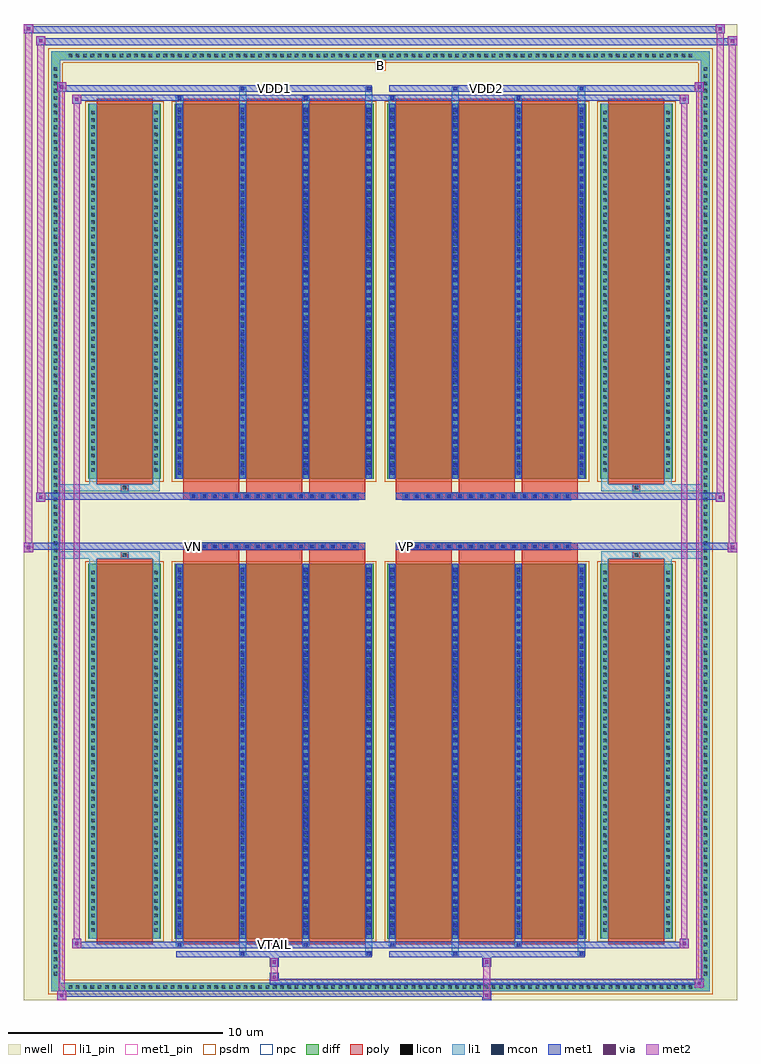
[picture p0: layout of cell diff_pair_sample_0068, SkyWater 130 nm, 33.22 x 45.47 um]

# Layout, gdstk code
import gdstk
lib = gdstk.Library(unit=1e-6, precision=5e-09)
def R(c, l, rs):  # rectangles x0, y0, x1, y1
    for r in rs: c.add(gdstk.rectangle(r[:2], r[2:], *l))
def A(c, l, x, y, w, h, nx, ny, dx, dy):  # array of equal rectangles
    R(c, l, [(x+i*dx, y+j*dy, x+i*dx+w, y+j*dy+h) for i in range(nx) for j in range(ny)])
def P(c, l, *ps):  # polygons
    for p in ps: c.add(gdstk.Polygon(p, *l))
nwell = (64, 20)
diff = (65, 20)
poly = (66, 20)
licon = (66, 44)
li1_pin = (67, 16)
li1 = (67, 20)
mcon = (67, 44)
met1_pin = (68, 16)
met1 = (68, 20)
via = (68, 44)
met2 = (69, 20)
psdm = (94, 20)
npc = (95, 20)

diff_pair_sample_0068 = lib.new_cell('diff_pair_sample_0068')
R(diff_pair_sample_0068, nwell, [(-16.61,-22.3,16.61,23.17), (-13.93,-20.49,-0.01,-0.805), (0.01,-20.49,13.93,-0.805), (-13.93,0.805,-0.01,20.49), (0.01,0.805,13.93,20.49)])
A(diff_pair_sample_0068, diff, -14.655, -21.9, 0.41, 0.41, 86, 2, 0.34, 43.39)
A(diff_pair_sample_0068, diff, -15.34, -21.285, 0.41, 0.41, 1, 125, 0, 0.34)
A(diff_pair_sample_0068, diff, 14.93, -21.285, 0.41, 0.41, 1, 125, 0, 0.34)
R(diff_pair_sample_0068, diff, [(-14.655,-21.9,14.655,-21.49), (-15.34,-21.285,-14.93,21.285), (14.93,-21.285,15.34,21.285), (-13.62,-19.445,-10.23,-1.985), (-9.59,-19.445,-0.32,-1.985), (0.32,-19.445,9.59,-1.985), (10.23,-19.445,13.62,-1.985), (-13.62,1.985,-10.23,19.445), (-9.59,1.985,-0.32,19.445), (0.32,1.985,9.59,19.445), (10.23,1.985,13.62,19.445), (-14.655,21.49,14.655,21.9)])
P(diff_pair_sample_0068, diff, [(15.34,21.9),(-15.34,21.9),(-15.34,-21.49),(-14.93,-21.49),(-14.93,21.49),(14.93,21.49),(14.93,-21.49),(-14.93,-21.49),(-15.34,-21.49),(-15.34,-21.9),(15.34,-21.9)])
A(diff_pair_sample_0068, poly, -9.2, -19.695, 2.61, 17.96, 3, 2, 2.94, 21.43)
A(diff_pair_sample_0068, poly, 0.71, -19.695, 2.61, 17.96, 3, 2, 2.94, 21.43)
A(diff_pair_sample_0068, poly, -9.2, -1.735, 2.61, 0.4, 3, 2, 2.94, 3.07)
A(diff_pair_sample_0068, poly, 0.71, -1.735, 2.61, 0.4, 3, 2, 2.94, 3.07)
A(diff_pair_sample_0068, poly, -8.87, -1.335, 0.33, 0.33, 16, 2, 0.5, 2.34)
A(diff_pair_sample_0068, poly, 1.04, -1.335, 0.33, 0.33, 16, 2, 0.5, 2.34)
R(diff_pair_sample_0068, poly, [(-13.23,-19.695,-10.62,-1.735), (10.62,-19.695,13.23,-1.735), (-12.09,-1.735,-11.76,-1.405), (-12.09,-1.735,-11.76,-1.405), (11.76,-1.735,12.09,-1.405), (11.76,-1.735,12.09,-1.405), (-9.2,-1.335,-0.71,-1.005), (0.71,-1.335,9.2,-1.005), (-9.2,1.005,-0.71,1.335), (0.71,1.005,9.2,1.335), (-12.09,1.405,-11.76,1.735), (-12.09,1.405,-11.76,1.735), (11.76,1.405,12.09,1.735), (11.76,1.405,12.09,1.735), (-13.23,1.735,-10.62,19.695), (10.62,1.735,13.23,19.695)])
A(diff_pair_sample_0068, licon, -14.535, -21.78, 0.17, 0.17, 86, 2, 0.34, 43.39)
A(diff_pair_sample_0068, licon, -15.22, -21.165, 0.17, 0.17, 1, 125, 0, 0.34)
A(diff_pair_sample_0068, licon, 15.05, -21.165, 0.17, 0.17, 1, 125, 0, 0.34)
A(diff_pair_sample_0068, licon, -13.48, -19.13, 0.17, 0.17, 1, 50, 0, 0.34)
A(diff_pair_sample_0068, licon, -10.54, -19.13, 0.17, 0.17, 1, 50, 0, 0.34)
A(diff_pair_sample_0068, licon, -9.45, -19.13, 0.17, 0.17, 4, 50, 2.94, 0.34)
A(diff_pair_sample_0068, licon, 0.46, -19.13, 0.17, 0.17, 4, 50, 2.94, 0.34)
A(diff_pair_sample_0068, licon, 10.37, -19.13, 0.17, 0.17, 1, 50, 0, 0.34)
A(diff_pair_sample_0068, licon, 13.31, -19.13, 0.17, 0.17, 1, 50, 0, 0.34)
A(diff_pair_sample_0068, licon, -8.79, -1.255, 0.17, 0.17, 16, 2, 0.5, 2.34)
A(diff_pair_sample_0068, licon, 1.12, -1.255, 0.17, 0.17, 16, 2, 0.5, 2.34)
A(diff_pair_sample_0068, licon, -13.48, 2.3, 0.17, 0.17, 1, 50, 0, 0.34)
A(diff_pair_sample_0068, licon, -10.54, 2.3, 0.17, 0.17, 1, 50, 0, 0.34)
A(diff_pair_sample_0068, licon, -9.45, 2.3, 0.17, 0.17, 4, 50, 2.94, 0.34)
A(diff_pair_sample_0068, licon, 0.46, 2.3, 0.17, 0.17, 4, 50, 2.94, 0.34)
A(diff_pair_sample_0068, licon, 10.37, 2.3, 0.17, 0.17, 1, 50, 0, 0.34)
A(diff_pair_sample_0068, licon, 13.31, 2.3, 0.17, 0.17, 1, 50, 0, 0.34)
R(diff_pair_sample_0068, licon, [(-12.01,-1.655,-11.84,-1.485), (11.84,-1.655,12.01,-1.485), (-12.01,1.485,-11.84,1.655), (11.84,1.485,12.01,1.655)])
R(diff_pair_sample_0068, li1_pin, [(-0.25,20.99,0.25,21.49)])
A(diff_pair_sample_0068, li1, -14.615, -21.86, 0.33, 0.33, 86, 2, 0.34, 43.39)
A(diff_pair_sample_0068, li1, -15.3, -21.245, 0.33, 0.33, 1, 125, 0, 0.34)
A(diff_pair_sample_0068, li1, 14.97, -21.245, 0.33, 0.33, 1, 125, 0, 0.34)
A(diff_pair_sample_0068, li1, -9.53, -19.445, 0.33, 17.46, 4, 2, 2.94, 21.43)
A(diff_pair_sample_0068, li1, 0.38, -19.445, 0.33, 17.46, 4, 2, 2.94, 21.43)
A(diff_pair_sample_0068, li1, -9.45, -19.26, 0.17, 0.17, 4, 48, 2.94, 0.36)
A(diff_pair_sample_0068, li1, -9.45, -19.26, 0.17, 17.09, 4, 2, 2.94, 21.43)
A(diff_pair_sample_0068, li1, 0.46, -19.26, 0.17, 0.17, 4, 48, 2.94, 0.36)
A(diff_pair_sample_0068, li1, 0.46, -19.26, 0.17, 17.09, 4, 2, 2.94, 21.43)
A(diff_pair_sample_0068, li1, -13.56, -19.21, 0.33, 0.33, 1, 50, 0, 0.34)
A(diff_pair_sample_0068, li1, -10.62, -19.21, 0.33, 0.33, 1, 50, 0, 0.34)
A(diff_pair_sample_0068, li1, -9.53, -19.21, 0.33, 0.33, 4, 50, 2.94, 0.34)
A(diff_pair_sample_0068, li1, 0.38, -19.21, 0.33, 0.33, 4, 50, 2.94, 0.34)
A(diff_pair_sample_0068, li1, 10.29, -19.21, 0.33, 0.33, 1, 50, 0, 0.34)
A(diff_pair_sample_0068, li1, 13.23, -19.21, 0.33, 0.33, 1, 50, 0, 0.34)
A(diff_pair_sample_0068, li1, -8.87, -1.335, 0.33, 0.33, 16, 2, 0.5, 2.34)
A(diff_pair_sample_0068, li1, 1.04, -1.335, 0.33, 0.33, 16, 2, 0.5, 2.34)
A(diff_pair_sample_0068, li1, -9.45, 2.17, 0.17, 0.17, 4, 48, 2.94, 0.36)
A(diff_pair_sample_0068, li1, 0.46, 2.17, 0.17, 0.17, 4, 48, 2.94, 0.36)
A(diff_pair_sample_0068, li1, -13.56, 2.22, 0.33, 0.33, 1, 50, 0, 0.34)
A(diff_pair_sample_0068, li1, -10.62, 2.22, 0.33, 0.33, 1, 50, 0, 0.34)
A(diff_pair_sample_0068, li1, -9.53, 2.22, 0.33, 0.33, 4, 50, 2.94, 0.34)
A(diff_pair_sample_0068, li1, 0.38, 2.22, 0.33, 0.33, 4, 50, 2.94, 0.34)
A(diff_pair_sample_0068, li1, 10.29, 2.22, 0.33, 0.33, 1, 50, 0, 0.34)
A(diff_pair_sample_0068, li1, 13.23, 2.22, 0.33, 0.33, 1, 50, 0, 0.34)
R(diff_pair_sample_0068, li1, [(-15.34,-21.9,-14.93,-21.49), (-15.34,-21.9,-14.93,-21.49), (-14.93,-21.9,14.93,-21.49), (14.93,-21.9,15.34,-21.49), (14.93,-21.9,15.34,-21.49), (-15.34,-21.49,-14.93,21.49), (14.93,-21.49,15.34,21.49), (-6.59,-20.25,-6.26,-19.445), (-6.51,-20.25,-6.34,-20.08), (-0.71,-20.25,-0.38,-19.445), (-0.63,-20.25,-0.46,-20.08), (3.32,-20.25,3.65,-19.445), (3.4,-20.25,3.57,-20.08), (9.2,-20.25,9.53,-19.445), (9.28,-20.25,9.45,-20.08), (-9.53,-19.82,-9.2,-19.445), (-9.45,-19.82,-9.28,-19.65), (-3.65,-19.82,-3.32,-19.445), (-3.57,-19.82,-3.4,-19.65), (0.38,-19.82,0.71,-19.445), (0.46,-19.82,0.63,-19.65), (6.26,-19.82,6.59,-19.445), (6.34,-19.82,6.51,-19.65), (-13.56,-19.445,-13.23,-1.985), (-10.62,-19.445,-10.29,-1.985), (10.29,-19.445,10.62,-1.985), (13.23,-19.445,13.56,-1.985), (-13.56,-1.985,-13.23,-1.405), (-10.62,-1.985,-10.29,-1.405), (10.29,-1.985,10.62,-1.405), (13.23,-1.985,13.56,-1.405), (-15.34,-1.735,-12.09,-1.405), (-13.56,-1.735,-12.09,-1.405), (-12.09,-1.735,-11.76,-1.405), (-11.76,-1.735,-10.29,-1.405), (10.29,-1.735,11.76,-1.405), (11.76,-1.735,12.09,-1.405), (11.76,-1.735,15.34,-1.405), (12.09,-1.735,13.56,-1.405), (-15.34,1.405,-12.09,1.735), (-13.56,1.405,-12.09,1.735), (-13.56,1.405,-13.23,1.985), (-12.09,1.405,-11.76,1.735), (-11.76,1.405,-10.29,1.735), (-10.62,1.405,-10.29,1.985), (10.29,1.405,11.76,1.735), (10.29,1.405,10.62,1.985), (11.76,1.405,12.09,1.735), (11.76,1.405,15.34,1.735), (12.09,1.405,13.56,1.735), (13.23,1.405,13.56,1.985), (-13.56,1.985,-13.23,19.445), (-10.62,1.985,-10.29,19.445), (10.29,1.985,10.62,19.445), (13.23,1.985,13.56,19.445), (-9.53,19.445,-9.2,19.82), (-6.59,19.445,-6.26,20.25), (-3.65,19.445,-3.32,19.82), (-0.71,19.445,-0.38,20.25), (0.38,19.445,0.71,19.82), (3.32,19.445,3.65,20.25), (6.26,19.445,6.59,19.82), (9.2,19.445,9.53,20.25), (-9.45,19.65,-9.28,19.82), (-3.57,19.65,-3.4,19.82), (0.46,19.65,0.63,19.82), (6.34,19.65,6.51,19.82), (-6.51,20.08,-6.34,20.25), (-0.63,20.08,-0.46,20.25), (3.4,20.08,3.57,20.25), (9.28,20.08,9.45,20.25), (-15.34,21.49,-14.93,21.9), (-15.34,21.49,-14.93,21.9), (-14.93,21.49,14.93,21.9), (14.93,21.49,15.34,21.9), (14.93,21.49,15.34,21.9)])
A(diff_pair_sample_0068, mcon, -9.45, -19.26, 0.17, 0.17, 4, 48, 2.94, 0.36)
A(diff_pair_sample_0068, mcon, 0.46, -19.26, 0.17, 0.17, 4, 48, 2.94, 0.36)
A(diff_pair_sample_0068, mcon, -8.79, -1.255, 0.17, 0.17, 16, 2, 0.5, 2.34)
A(diff_pair_sample_0068, mcon, 1.12, -1.255, 0.17, 0.17, 16, 2, 0.5, 2.34)
A(diff_pair_sample_0068, mcon, -9.45, 2.17, 0.17, 0.17, 4, 48, 2.94, 0.36)
A(diff_pair_sample_0068, mcon, 0.46, 2.17, 0.17, 0.17, 4, 48, 2.94, 0.36)
R(diff_pair_sample_0068, mcon, [(-6.51,-20.25,-6.34,-20.08), (-0.63,-20.25,-0.46,-20.08), (3.4,-20.25,3.57,-20.08), (9.28,-20.25,9.45,-20.08), (-9.45,-19.82,-9.28,-19.65), (-3.57,-19.82,-3.4,-19.65), (0.46,-19.82,0.63,-19.65), (6.34,-19.82,6.51,-19.65), (-9.45,19.65,-9.28,19.82), (-3.57,19.65,-3.4,19.82), (0.46,19.65,0.63,19.82), (6.34,19.65,6.51,19.82), (-6.51,20.08,-6.34,20.25), (-0.63,20.08,-0.46,20.25), (3.4,20.08,3.57,20.25), (9.28,20.08,9.45,20.25)])
R(diff_pair_sample_0068, met1_pin, [(-5.09,-19.86,-4.82,-19.59), (-8.84,-1.295,-8.57,-1.025), (1.07,-1.295,1.34,-1.025), (-5.09,20.04,-4.82,20.31), (4.82,20.04,5.09,20.31)])
A(diff_pair_sample_0068, met1, -9.51, -19.445, 0.29, 17.46, 4, 2, 2.94, 21.43)
A(diff_pair_sample_0068, met1, 0.4, -19.445, 0.29, 17.46, 4, 2, 2.94, 21.43)
A(diff_pair_sample_0068, met1, -9.51, -19.32, 0.29, 0.29, 4, 48, 2.94, 0.36)
A(diff_pair_sample_0068, met1, 0.4, -19.32, 0.29, 0.29, 4, 48, 2.94, 0.36)
A(diff_pair_sample_0068, met1, -8.85, -1.315, 0.29, 0.29, 16, 2, 0.5, 2.34)
A(diff_pair_sample_0068, met1, 1.06, -1.315, 0.29, 0.29, 16, 2, 0.5, 2.34)
A(diff_pair_sample_0068, met1, -9.51, 2.11, 0.29, 0.29, 4, 48, 2.94, 0.36)
A(diff_pair_sample_0068, met1, 0.4, 2.11, 0.29, 0.29, 4, 48, 2.94, 0.36)
R(diff_pair_sample_0068, met1, [(-15.07,-22.3,-14.64,-21.87), (4.74,-22.3,5.17,-21.87), (-15.07,-22.16,5.17,-21.87), (14.64,-21.73,15.07,-21.3), (-5.17,-21.59,15.07,-21.3), (-5.17,-21.45,-4.74,-21.02), (-5.17,-20.74,-4.74,-20.31), (4.74,-20.74,5.17,-20.31), (-9.51,-20.31,-0.4,-20.02), (-6.57,-20.31,-6.28,-20.02), (-0.69,-20.31,-0.4,-20.02), (0.4,-20.31,9.51,-20.02), (3.34,-20.31,3.63,-20.02), (9.22,-20.31,9.51,-20.02), (-14.36,-19.88,-13.93,-19.45), (-14.36,-19.88,-9.51,-19.59), (-9.51,-19.88,-9.22,-19.59), (-9.51,-19.88,-0.4,-19.59), (-3.63,-19.88,-3.34,-19.59), (-0.4,-19.88,0.4,-19.59), (0.4,-19.88,0.69,-19.59), (0.4,-19.88,9.51,-19.59), (6.28,-19.88,6.57,-19.59), (9.51,-19.88,14.36,-19.59), (13.93,-19.88,14.36,-19.45), (-16.61,-1.435,-16.18,-1.005), (16.18,-1.435,16.61,-1.005), (-16.61,-1.335,-0.71,-1.005), (-9.2,-1.335,-0.71,-1.005), (0.71,-1.335,9.2,-1.005), (0.71,-1.335,16.61,-1.005), (-16.04,0.905,-15.61,1.335), (15.61,0.905,16.04,1.335), (-16.04,1.005,-9.2,1.335), (-9.2,1.005,-0.71,1.335), (0.71,1.005,9.2,1.335), (9.2,1.005,16.04,1.335), (-14.36,19.45,-13.93,19.88), (13.93,19.45,14.36,19.88), (-14.36,19.59,-9.51,19.88), (-9.51,19.59,-9.22,19.88), (-9.51,19.59,-0.4,19.88), (-3.63,19.59,-3.34,19.88), (-0.4,19.59,0.4,19.88), (0.4,19.59,0.69,19.88), (0.4,19.59,9.51,19.88), (6.28,19.59,6.57,19.88), (9.51,19.59,14.36,19.88), (-15.07,20.02,-14.64,20.45), (-15.07,20.02,-9.51,20.31), (-9.51,20.02,-0.4,20.31), (-6.57,20.02,-6.28,20.31), (-0.69,20.02,-0.4,20.31), (0.4,20.02,9.51,20.31), (3.34,20.02,3.63,20.31), (9.22,20.02,9.51,20.31), (9.51,20.02,15.07,20.31), (14.64,20.02,15.07,20.45), (-16.04,22.17,-15.61,22.6), (-16.04,22.17,-13.93,22.5), (-13.93,22.17,13.93,22.5), (13.93,22.17,16.61,22.5), (16.18,22.17,16.61,22.6), (-16.61,22.74,-16.18,23.17), (-16.61,22.74,-13.93,23.07), (-13.93,22.74,13.93,23.07), (13.93,22.74,16.04,23.07), (15.61,22.74,16.04,23.17)])
R(diff_pair_sample_0068, via, [(-14.93,-22.16,-14.78,-22.01), (4.88,-22.16,5.03,-22.01), (14.78,-21.59,14.93,-21.44), (-5.03,-21.31,-4.88,-21.16), (-5.03,-20.6,-4.88,-20.45), (4.88,-20.6,5.03,-20.45), (-14.22,-19.74,-14.07,-19.59), (14.07,-19.74,14.22,-19.59), (-16.47,-1.295,-16.32,-1.145), (16.32,-1.295,16.47,-1.145), (-15.9,1.045,-15.75,1.195), (15.75,1.045,15.9,1.195), (-14.22,19.59,-14.07,19.74), (14.07,19.59,14.22,19.74), (-14.93,20.16,-14.78,20.31), (14.78,20.16,14.93,20.31), (-15.9,22.31,-15.75,22.46), (16.32,22.31,16.47,22.46), (-16.47,22.88,-16.32,23.03), (15.75,22.88,15.9,23.03)])
R(diff_pair_sample_0068, met2, [(-15.07,-22.3,-14.64,-21.87), (-15,-22.3,-14.71,20.45), (-14.71,-22.3,-14.64,-21.87), (-15.02,-22.25,-14.69,-21.92), (4.79,-22.25,5.12,-21.92), (4.79,-21.92,5.12,-20.69), (14.64,-21.73,15.07,-21.3), (14.71,-21.73,15,20.45), (15,-21.73,15.07,-21.3), (14.69,-21.68,15.02,-21.35), (-5.12,-21.4,-4.79,-21.07), (-5.12,-21.07,-4.79,-20.69), (-5.12,-20.69,-4.79,-20.36), (4.79,-20.69,5.12,-20.36), (-14.36,-19.88,-13.93,-19.45), (-14.29,-19.88,-14,19.88), (-14,-19.88,-13.93,-19.45), (13.93,-19.88,14.36,-19.45), (14,-19.88,14.29,19.88), (14.29,-19.88,14.36,-19.45), (-14.31,-19.83,-13.98,-19.5), (13.98,-19.83,14.31,-19.5), (-16.61,-1.435,-16.18,-1.005), (-16.56,-1.435,-16.23,23.17), (-16.23,-1.435,-16.18,-1.005), (16.18,-1.435,16.61,-1.005), (16.23,-1.435,16.56,22.6), (16.56,-1.435,16.61,-1.005), (-16.56,-1.385,-16.23,-1.055), (16.23,-1.385,16.56,-1.055), (-16.04,0.905,-15.61,1.335), (-15.99,0.905,-15.66,22.6), (-15.66,0.905,-15.61,1.335), (15.61,0.905,16.04,1.335), (15.66,0.905,15.99,23.17), (15.99,0.905,16.04,1.335), (-15.99,0.955,-15.66,1.285), (15.66,0.955,15.99,1.285), (-14.36,19.45,-13.93,19.88), (-14,19.45,-13.93,19.88), (13.93,19.45,14.36,19.88), (14.29,19.45,14.36,19.88), (-14.31,19.5,-13.98,19.83), (13.98,19.5,14.31,19.83), (-15.07,20.02,-14.64,20.45), (-14.71,20.02,-14.64,20.45), (14.64,20.02,15.07,20.45), (15,20.02,15.07,20.45), (-15.02,20.07,-14.69,20.4), (14.69,20.07,15.02,20.4), (-16.04,22.17,-15.61,22.6), (-15.66,22.17,-15.61,22.6), (16.18,22.17,16.61,22.6), (16.56,22.17,16.61,22.6), (-15.99,22.22,-15.66,22.55), (16.23,22.22,16.56,22.55), (-16.61,22.74,-16.18,23.17), (-16.23,22.74,-16.18,23.17), (15.61,22.74,16.04,23.17), (15.99,22.74,16.04,23.17), (-16.56,22.79,-16.23,23.12), (15.66,22.79,15.99,23.12)])
R(diff_pair_sample_0068, psdm, [(-13.75,-19.575,-10.1,-1.855), (-9.72,-19.575,-0.19,-1.855), (0.19,-19.575,9.72,-1.855), (10.1,-19.575,13.75,-1.855), (-13.75,1.855,-10.1,19.575), (-9.72,1.855,-0.19,19.575), (0.19,1.855,9.72,19.575), (10.1,1.855,13.75,19.575)])
P(diff_pair_sample_0068, psdm, [(15.47,22.03),(-15.47,22.03),(-15.47,-21.36),(-14.8,-21.36),(-14.8,21.36),(14.8,21.36),(14.8,-21.36),(-14.8,-21.36),(-15.47,-21.36),(-15.47,-22.03),(15.47,-22.03)])
A(diff_pair_sample_0068, npc, -8.89, -1.355, 0.37, 0.37, 16, 2, 0.5, 2.34)
A(diff_pair_sample_0068, npc, 1.02, -1.355, 0.37, 0.37, 16, 2, 0.5, 2.34)
R(diff_pair_sample_0068, npc, [(-12.11,-1.755,-11.74,-1.385), (11.74,-1.755,12.11,-1.385), (-8.89,-1.355,-8.02,-0.985), (-8.89,-1.355,-8.02,-0.985), (-8.39,-1.355,-7.52,-0.985), (-8.39,-1.355,-7.52,-0.985), (-7.89,-1.355,-7.02,-0.985), (-7.89,-1.355,-7.02,-0.985), (-7.39,-1.355,-6.52,-0.985), (-7.39,-1.355,-6.52,-0.985), (-6.89,-1.355,-6.02,-0.985), (-6.89,-1.355,-6.02,-0.985), (-6.39,-1.355,-5.52,-0.985), (-6.39,-1.355,-5.52,-0.985), (-5.89,-1.355,-5.02,-0.985), (-5.89,-1.355,-5.02,-0.985), (-5.39,-1.355,-4.52,-0.985), (-5.39,-1.355,-4.52,-0.985), (-4.89,-1.355,-4.02,-0.985), (-4.89,-1.355,-4.02,-0.985), (-4.39,-1.355,-3.52,-0.985), (-4.39,-1.355,-3.52,-0.985), (-3.89,-1.355,-3.02,-0.985), (-3.89,-1.355,-3.02,-0.985), (-3.39,-1.355,-2.52,-0.985), (-3.39,-1.355,-2.52,-0.985), (-2.89,-1.355,-2.02,-0.985), (-2.89,-1.355,-2.02,-0.985), (-2.39,-1.355,-1.52,-0.985), (-2.39,-1.355,-1.52,-0.985), (-1.89,-1.355,-1.02,-0.985), (-1.89,-1.355,-1.02,-0.985), (1.02,-1.355,1.89,-0.985), (1.02,-1.355,1.89,-0.985), (1.52,-1.355,2.39,-0.985), (1.52,-1.355,2.39,-0.985), (2.02,-1.355,2.89,-0.985), (2.02,-1.355,2.89,-0.985), (2.52,-1.355,3.39,-0.985), (2.52,-1.355,3.39,-0.985), (3.02,-1.355,3.89,-0.985), (3.02,-1.355,3.89,-0.985), (3.52,-1.355,4.39,-0.985), (3.52,-1.355,4.39,-0.985), (4.02,-1.355,4.89,-0.985), (4.02,-1.355,4.89,-0.985), (4.52,-1.355,5.39,-0.985), (4.52,-1.355,5.39,-0.985), (5.02,-1.355,5.89,-0.985), (5.02,-1.355,5.89,-0.985), (5.52,-1.355,6.39,-0.985), (5.52,-1.355,6.39,-0.985), (6.02,-1.355,6.89,-0.985), (6.02,-1.355,6.89,-0.985), (6.52,-1.355,7.39,-0.985), (6.52,-1.355,7.39,-0.985), (7.02,-1.355,7.89,-0.985), (7.02,-1.355,7.89,-0.985), (7.52,-1.355,8.39,-0.985), (7.52,-1.355,8.39,-0.985), (8.02,-1.355,8.89,-0.985), (8.02,-1.355,8.89,-0.985), (-8.89,0.985,-8.02,1.355), (-8.89,0.985,-8.02,1.355), (-8.39,0.985,-7.52,1.355), (-8.39,0.985,-7.52,1.355), (-7.89,0.985,-7.02,1.355), (-7.89,0.985,-7.02,1.355), (-7.39,0.985,-6.52,1.355), (-7.39,0.985,-6.52,1.355), (-6.89,0.985,-6.02,1.355), (-6.89,0.985,-6.02,1.355), (-6.39,0.985,-5.52,1.355), (-6.39,0.985,-5.52,1.355), (-5.89,0.985,-5.02,1.355), (-5.89,0.985,-5.02,1.355), (-5.39,0.985,-4.52,1.355), (-5.39,0.985,-4.52,1.355), (-4.89,0.985,-4.02,1.355), (-4.89,0.985,-4.02,1.355), (-4.39,0.985,-3.52,1.355), (-4.39,0.985,-3.52,1.355), (-3.89,0.985,-3.02,1.355), (-3.89,0.985,-3.02,1.355), (-3.39,0.985,-2.52,1.355), (-3.39,0.985,-2.52,1.355), (-2.89,0.985,-2.02,1.355), (-2.89,0.985,-2.02,1.355), (-2.39,0.985,-1.52,1.355), (-2.39,0.985,-1.52,1.355), (-1.89,0.985,-1.02,1.355), (-1.89,0.985,-1.02,1.355), (1.02,0.985,1.89,1.355), (1.02,0.985,1.89,1.355), (1.52,0.985,2.39,1.355), (1.52,0.985,2.39,1.355), (2.02,0.985,2.89,1.355), (2.02,0.985,2.89,1.355), (2.52,0.985,3.39,1.355), (2.52,0.985,3.39,1.355), (3.02,0.985,3.89,1.355), (3.02,0.985,3.89,1.355), (3.52,0.985,4.39,1.355), (3.52,0.985,4.39,1.355), (4.02,0.985,4.89,1.355), (4.02,0.985,4.89,1.355), (4.52,0.985,5.39,1.355), (4.52,0.985,5.39,1.355), (5.02,0.985,5.89,1.355), (5.02,0.985,5.89,1.355), (5.52,0.985,6.39,1.355), (5.52,0.985,6.39,1.355), (6.02,0.985,6.89,1.355), (6.02,0.985,6.89,1.355), (6.52,0.985,7.39,1.355), (6.52,0.985,7.39,1.355), (7.02,0.985,7.89,1.355), (7.02,0.985,7.89,1.355), (7.52,0.985,8.39,1.355), (7.52,0.985,8.39,1.355), (8.02,0.985,8.89,1.355), (8.02,0.985,8.89,1.355), (-12.11,1.385,-11.74,1.755), (11.74,1.385,12.11,1.755)])
diff_pair_sample_0068.add(gdstk.Label('VTAIL', (-4.955,-19.725), layer=68, texttype=5))
diff_pair_sample_0068.add(gdstk.Label('VN', (-8.705,-1.16), layer=68, texttype=5))
diff_pair_sample_0068.add(gdstk.Label('VP', (1.205,-1.16), layer=68, texttype=5))
diff_pair_sample_0068.add(gdstk.Label('B', (0,21.24), layer=67, texttype=5))
diff_pair_sample_0068.add(gdstk.Label('VDD2', (4.955,20.175), layer=68, texttype=5))
diff_pair_sample_0068.add(gdstk.Label('VDD1', (-4.955,20.175), layer=68, texttype=5))

lib.write_gds('diff_pair_sample_0068.gds')
